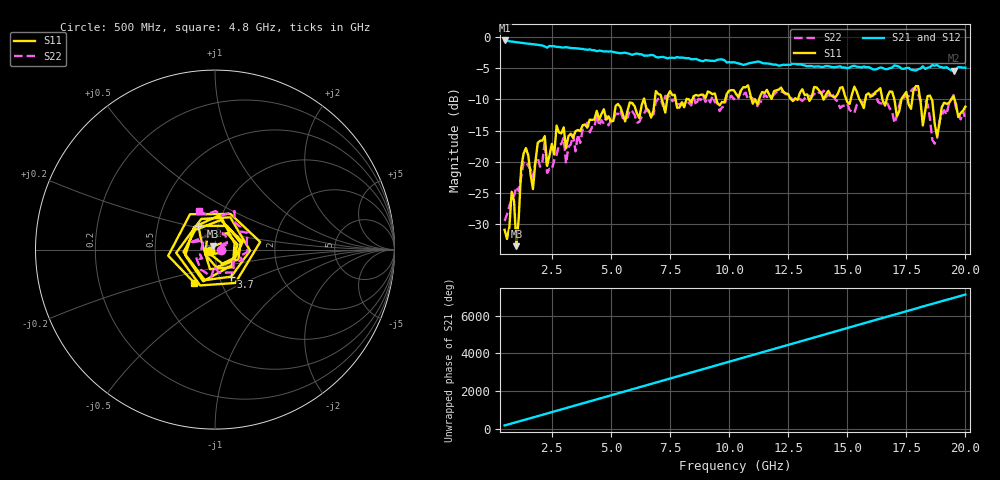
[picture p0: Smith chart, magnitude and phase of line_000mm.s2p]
!Created with skrf (http://scikit-rf.org).
# GHz S RI R 50.0
!freq ReS11 ImS11 ReS21 ImS21 ReS12 ImS12 ReS22 ImS22
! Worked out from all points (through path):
!   196 points, 500 MHz to 20 GHz, reference 50 ohm
!   highest |S21| = -0.62 dB at 500 MHz (marker M1); lowest = -5.4 dB at 19.5 GHz (marker M2)
!   lowest |S11| = -33.5 dB at 1 GHz (marker M3), VSWR 1.04, Z = 49 + j1.86 ohm
!   |S11| at or under -10 dB: start of sweep to 6.39 GHz; 18.57 GHz to 19.41 GHz (841.2 MHz wide, 4.43 % of centre); 19.54 GHz to end of sweep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
!   |S22| runs from -29.5 to -8.2 dB; largest |S21 - S12| = 0.48
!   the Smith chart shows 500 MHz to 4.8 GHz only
!   S11 on the Smith chart (normalised r, x): 500 MHz: 0.95, -0.02; 2.2 GHz: 0.81, +0.22; 3.7 GHz: 1.14, -0.35; 4.8 GHz: 0.74, -0.29
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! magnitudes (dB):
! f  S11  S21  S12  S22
! 500 MHz  -30.9  -0.6  -0.6  -29.5
! 800 MHz  -24.8  -0.8  -0.8  -26.0
! 1 GHz  -33.5  -0.9  -0.9  -24.0
! 1.3 GHz  -18.7  -1.0  -1.1  -20.1
! 1.7 GHz  -24.4  -1.2  -1.2  -22.5
! 2.2 GHz  -15.9  -1.6  -1.6  -16.7
! 2.3 GHz  -20.7  -1.8  -1.8  -21.8
! 2.7 GHz  -14.2  -1.6  -1.7  -18.9
! 3.7 GHz  -15.1  -1.9  -2.0  -17.0
! 3.8 GHz  -14.2  -2.0  -2.0  -14.9
! 4.8 GHz  -13.3  -2.4  -2.5  -12.7
! 7 GHz  -9.2  -3.3  -3.4  -10.0
! 10.3 GHz  -9.2  -4.2  -4.2  -9.6
! 13.5 GHz  -9.6  -4.7  -4.7  -9.5
! 16.8 GHz  -8.8  -5.0  -5.1  -11.5
! 17.1 GHz  -12.7  -4.7  -4.8  -12.7
! 17.9 GHz  -7.9  -5.4  -5.5  -8.4
! 18.2 GHz  -14.2  -4.7  -4.9  -10.0
! 18.5 GHz  -9.4  -4.9  -4.9  -13.1
! 18.7 GHz  -13.9  -4.6  -4.6  -17.1
! 19.5 GHz  -9.6  -5.4  -5.4  -9.3
! 20 GHz  -11.2  -5.0  -5.0  -13.2
